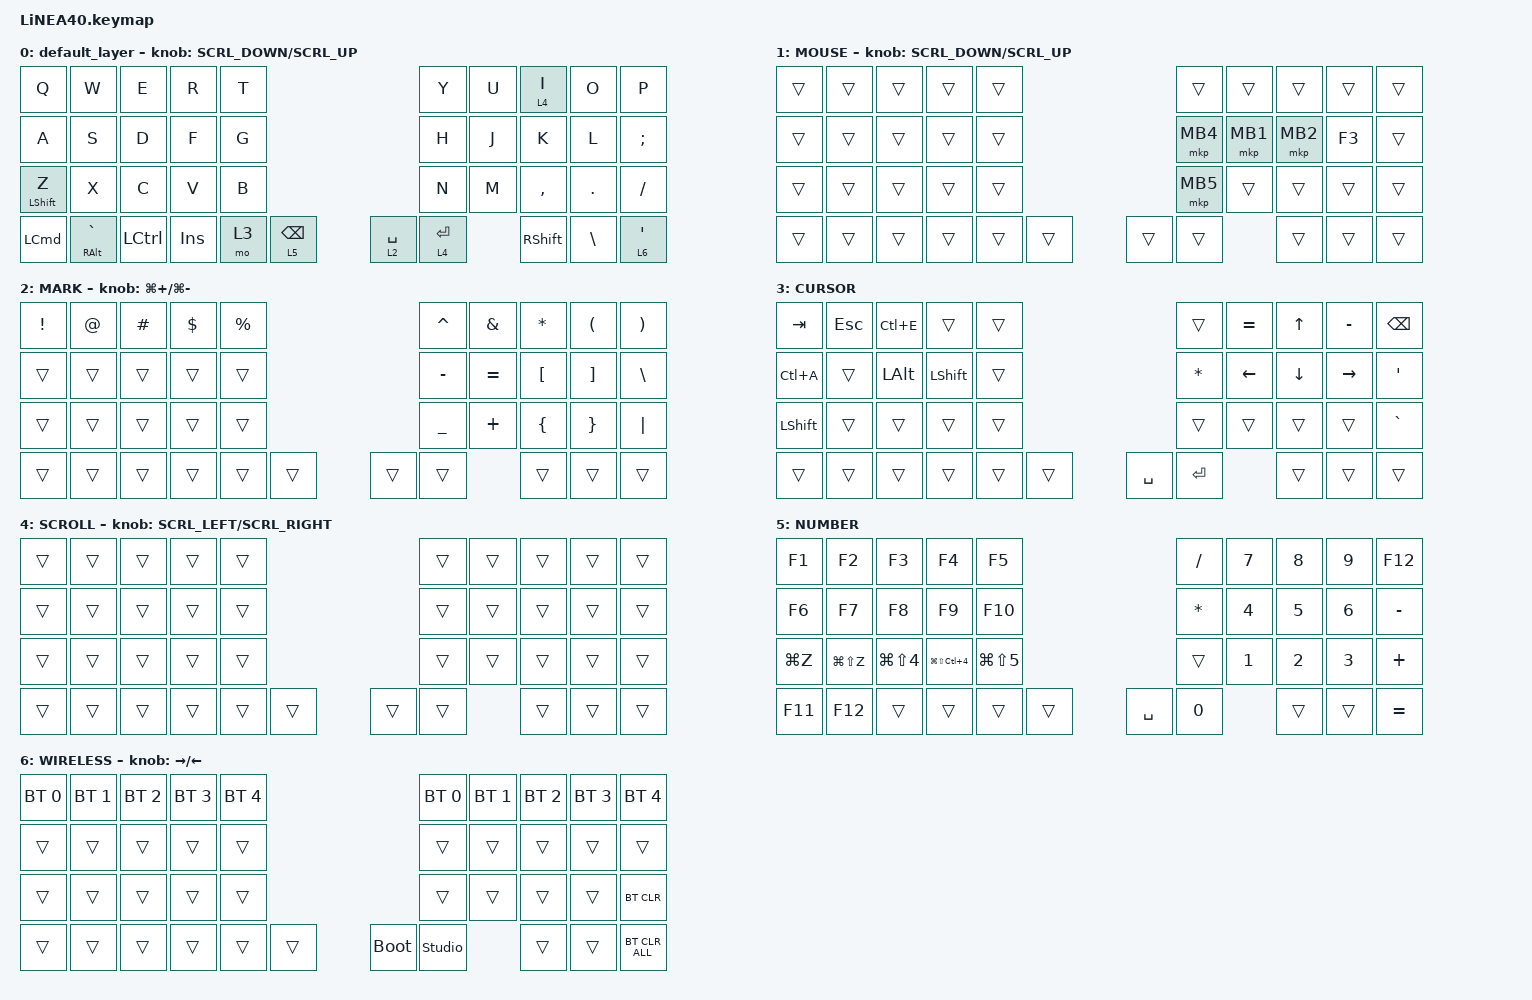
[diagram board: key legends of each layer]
#define ZMK_POINTING_DEFAULT_SCRL_VAL 150

#include <dt-bindings/zmk/input_transform.h>
#include <input/processors.dtsi>
#include <zephyr/dt-bindings/input/input-event-codes.h>
#include <behaviors.dtsi>
#include <dt-bindings/zmk/bt.h>
#include <dt-bindings/zmk/keys.h>
#include <dt-bindings/zmk/pointing.h>
// DYA Studio から編集できるマクロ (&rmacro <slot>) の実体。
//   マクロ本体は Studio (Macro&Combo タブ) で作り、キーへの割り当ても Studio のキーマップエディタでできる
#include <behaviors/runtime_macro.dtsi>

#define MOUSE 1
#define MARK 2
#define CURSOR 3
#define SCROLL 4
#define NUMBER 5
#define WIRELESS 6

//mouse cursol

&mmv {
    delay-ms = <20>;
    trigger-period-ms = <5>;
    time-to-max-speed-ms = <100>;
    acceleration-exponent = <2>;
};

//mouse scroll

&msc {
    delay-ms = <3>;
    trigger-period-ms = <3>;
    time-to-max-speed-ms = <100>;
    acceleration-exponent = <0>;
};

/ {
    input_processors {
        zip_wheel_scaler: zip_wheel_scaler {
            compatible = "zmk,input-processor-scaler";
            #input-processor-cells = <2>;
            type = <INPUT_EV_REL>;
            codes = <INPUT_REL_WHEEL>;
            track-remainders;
        };
    };
};

&msc_input_listener {
    speed_up {
        layers = <SCROLL>;
        input-processors = <&zip_wheel_scaler 3 1>; //スクロールを3倍速にする
    };
};

// トラックボールのスクロール/オートマウスは LiNEA40_right.overlay の
//   runtime input processor (DYA Studio から変更可) で行うため、ここには書かない。

/ {
    // DYA Studio 対応: コンボは zmk,combos ではなく runtime-combo モジュールで定義する
    //   (zmk,combos はコンパイル時に固定されて Studio から編集できないため)。
    //   ここに書いた値は工場出荷値で、Studio (Macro&Combo タブ) で上書きするとそちらが優先され、
    //   Reset to Default で戻せる。空きスロットは Studio から追加できる (既定で最大 8)。
    runtime_combo_defaults {
        compatible = "cormoran,runtime-combo-defaults";

        ZenkakuHankaku {
            slot = <0>;
            bindings = <&kp RA(SPACE)>;
            key-positions = <16 17>;
            display-name = "Zenkaku/Hankaku";
        };

        DeleteKey {
            slot = <1>;
            bindings = <&kp DEL>;
            key-positions = <7 8>;
            display-name = "Delete";
        };

        backspace {
            slot = <2>;
            bindings = <&kp BACKSPACE>;
            key-positions = <8 9>;
            display-name = "Backspace";
        };

        CommandSpaceKey {
            slot = <3>;
            bindings = <&kp LG(SPACE)>;
            key-positions = <12 13>;
            display-name = "Cmd+Space";
        };

        Command2TapKey {
            slot = <4>;
            bindings = <&double_tap_command>;
            key-positions = <3 2>;
            display-name = "Cmd x2";
        };
    };

    behaviors {
        re_kp: sensor_rotate_kp {
            compatible = "zmk,behavior-sensor-rotate-var";
            #sensor-binding-cells = <2>;
            bindings = <&kp>, <&kp>;
        };

        mouse_scrl: mouse_wheel_scrl {
            compatible = "zmk,behavior-sensor-rotate-var";
            #sensor-binding-cells = <2>;
            bindings = <&msc>, <&msc>;

            tap-ms = <20>;
        };

        // 高速タイピング中のShift誤発動を防ぐhold-tap

        hm: homerow_mod {
            compatible = "zmk,behavior-hold-tap";
            #binding-cells = <2>;
            flavor = "balanced";
            tapping-term-ms = <200>;
            quick-tap-ms = <175>;
            require-prior-idle-ms = <150>;
            bindings = <&kp>, <&kp>;
        };
    };

    macros {
        double_tap_command: double_tap_command {
            compatible = "zmk,behavior-macro";
            #binding-cells = <0>;
            bindings = <&kp LEFT_GUI &kp LEFT_GUI>;
            label = "DOUBLE_TAP_COMMAND";
        };
    };

    keymap {
        compatible = "zmk,keymap";

        default_layer {
            bindings = <
&kp Q             &kp W                &kp E             &kp R    &kp T                                  &kp Y        &kp U  &lt 4 I          &kp O          &kp P
&kp A             &kp S                &kp D             &kp F    &kp G                                  &kp H        &kp J  &kp K            &kp L          &kp SEMICOLON
&hm LEFT_SHIFT Z  &kp X                &kp C             &kp V    &kp B                                  &kp N        &kp M  &kp COMMA        &kp DOT        &kp SLASH
&kp LEFT_COMMAND  &mt RIGHT_ALT GRAVE  &kp LEFT_CONTROL  &kp INS  &mo 3  &lt 5 BACKSPACE    &lt 2 SPACE  &lt 4 ENTER         &kp RIGHT_SHIFT  &kp BACKSLASH  &lt 6 SINGLE_QUOTE
            >;

            sensor-bindings = <&mouse_scrl SCRL_DOWN SCRL_UP>;
        };

        MOUSE {
            bindings = <
&trans  &trans  &trans  &trans  &trans                    &trans    &trans    &trans    &trans  &trans
&trans  &trans  &trans  &trans  &trans                    &mkp MB4  &mkp MB1  &mkp MB2  &kp F3  &trans
&trans  &trans  &trans  &trans  &trans                    &mkp MB5  &trans    &trans    &trans  &trans
&trans  &trans  &trans  &trans  &trans  &trans    &trans  &trans              &trans    &trans  &trans
            >;

            sensor-bindings = <&mouse_scrl SCRL_DOWN SCRL_UP>;
        };

        MARK {
            bindings = <
&kp EXCLAMATION  &kp AT  &kp HASH  &kp DOLLAR  &kp PERCENT                    &kp CARET       &kp AMPERSAND  &kp ASTERISK      &kp LEFT_PARENTHESIS  &kp RIGHT_PARENTHESIS
&trans           &trans  &trans    &trans      &trans                         &kp MINUS       &kp EQUAL      &kp LEFT_BRACKET  &kp RIGHT_BRACKET     &kp BACKSLASH
&trans           &trans  &trans    &trans      &trans                         &kp UNDERSCORE  &kp PLUS       &kp LEFT_BRACE    &kp RIGHT_BRACE       &kp PIPE
&trans           &trans  &trans    &trans      &trans       &trans    &trans  &trans                         &trans            &trans                &trans
            >;

            sensor-bindings = <&inc_dec_kp LG(PLUS) LG(MINUS)>;
        };

        CURSOR {
            bindings = <
&kp TAB         &kp ESCAPE  &kp LC(E)     &trans          &trans                       &trans        &kp EQUAL       &kp UP_ARROW    &kp MINUS        &kp BACKSPACE
&kp LC(A)       &trans      &kp LEFT_ALT  &kp LEFT_SHIFT  &trans                       &kp ASTERISK  &kp LEFT_ARROW  &kp DOWN_ARROW  &kp RIGHT_ARROW  &kp SQT
&kp LEFT_SHIFT  &trans      &trans        &trans          &trans                       &trans        &trans          &trans          &trans           &kp GRAVE
&trans          &trans      &trans        &trans          &trans  &trans    &kp SPACE  &kp ENTER                     &trans          &trans           &trans
            >;
        };

        SCROLL {
            bindings = <
&trans  &trans  &trans  &trans  &trans                    &trans  &trans  &trans  &trans  &trans
&trans  &trans  &trans  &trans  &trans                    &trans  &trans  &trans  &trans  &trans
&trans  &trans  &trans  &trans  &trans                    &trans  &trans  &trans  &trans  &trans
&trans  &trans  &trans  &trans  &trans  &trans    &trans  &trans          &trans  &trans  &trans
            >;

            sensor-bindings = <&mouse_scrl SCRL_LEFT SCRL_RIGHT>;
        };

        NUMBER {
            bindings = <
&kp F1     &kp F2         &kp F3                &kp F4                    &kp F5                               &kp SLASH     &kp N7        &kp N8        &kp N9        &kp F12
&kp F6     &kp F7         &kp F8                &kp F9                    &kp F10                              &kp ASTERISK  &kp NUMBER_4  &kp N5        &kp NUMBER_6  &kp MINUS
&kp LG(Z)  &kp LG(LS(Z))  &kp LG(LS(NUMBER_4))  &kp LG(LS(LC(NUMBER_4)))  &kp LG(LS(N5))                       &trans        &kp NUMBER_1  &kp NUMBER_2  &kp NUMBER_3  &kp PLUS
&kp F11    &kp F12        &trans                &trans                    &trans          &trans    &kp SPACE  &kp N0                      &trans        &trans        &kp EQUAL
            >;
        };

        WIRELESS {
            bindings = <
&bt BT_SEL 0  &bt BT_SEL 1  &bt BT_SEL 2  &bt BT_SEL 3  &bt BT_SEL 4                         &bt BT_SEL 0    &bt BT_SEL 1  &bt BT_SEL 2  &bt BT_SEL 3  &bt BT_SEL 4
&trans        &trans        &trans        &trans        &trans                               &trans          &trans        &trans        &trans        &trans
&trans        &trans        &trans        &trans        &trans                               &trans          &trans        &trans        &trans        &bt BT_CLR
&trans        &trans        &trans        &trans        &trans        &trans    &bootloader  &studio_unlock                &trans        &trans        &bt BT_CLR_ALL
            >;

            sensor-bindings = <&inc_dec_kp RIGHT_ARROW LEFT_ARROW>;
        };
    };
};
